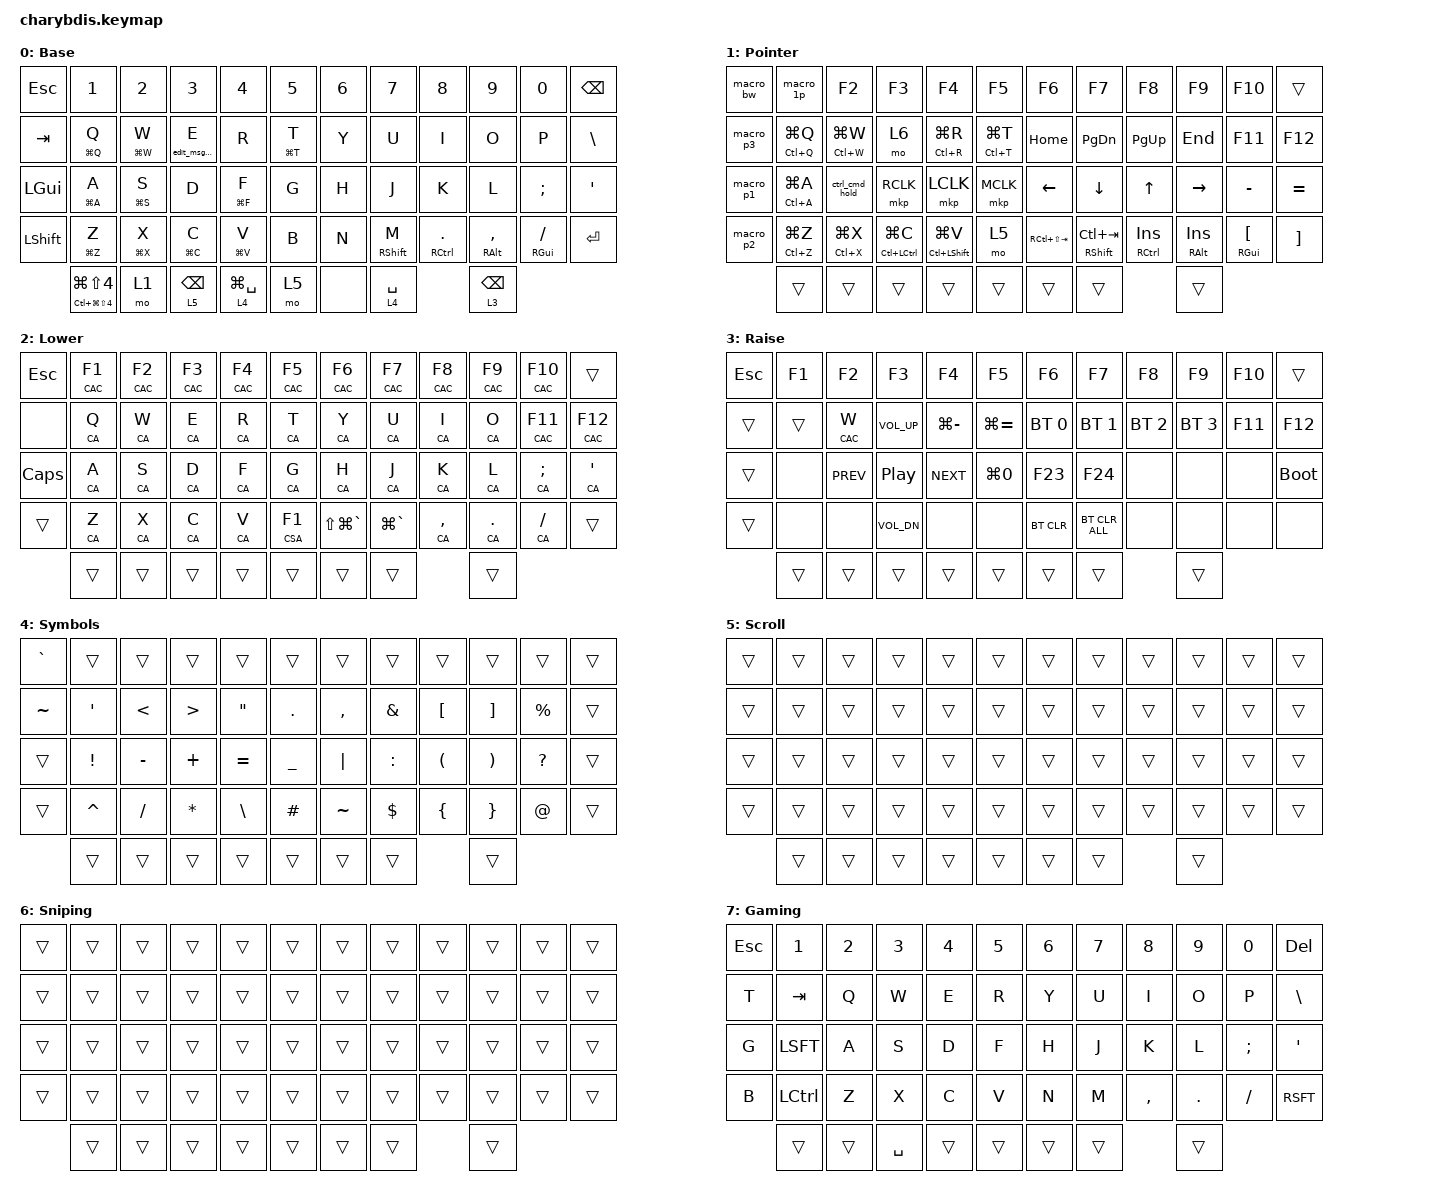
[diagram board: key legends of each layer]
#include <dt-bindings/zmk/mouse.h>
#include <behaviors/mouse_keys.dtsi>
#include <behaviors.dtsi>
#include <dt-bindings/zmk/bt.h>
#include <dt-bindings/zmk/keys.h>
#include <dt-bindings/zmk/pointing.h>

/ {
    chosen { zmk,physical-layout = &charybdis_6col_layout; };
};

&mt {
    quick-tap-ms = <200>;
    flavor = "tap-preferred";
    tapping-term-ms = <170>;
};

&lt {
    quick-tap-ms = <200>;
    flavor = "tap-preferred";
    tapping-term-ms = <170>;
};

// Layer definitions

#define BASE 0
#define POINTER 1
#define LOWER 2
#define RAISE 3
#define SYMBOLS 4
#define SCROLL 5
#define SNIPING 6
#define GAMING 7

/ {
    behaviors {
        // Hold-tap behavior for layer with tap-preferred

        blt: blt {
            compatible = "zmk,behavior-hold-tap";
            #binding-cells = <2>;
            flavor = "tap-preferred";
            tapping-term-ms = <200>;
            quick-tap-ms = <300>;
            require-prior-idle-ms = <100>;
            bindings = <&mo>, <&kp>;
        };

        // Tap-dance for GUI/Ctrl+B

        gui_ctrlb: gui_ctrlb {
            compatible = "zmk,behavior-tap-dance";
            #binding-cells = <0>;
            tapping-term-ms = <200>;
            bindings = <&kp LGUI>, <&kp LC(B)>;
        };

        // Tap/hold Alt, double-tap Ctrl+Shift+Z

        lalt_dt: lalt_dt {
            compatible = "zmk,behavior-tap-dance";
            #binding-cells = <0>;
            tapping-term-ms = <200>;
            bindings = <&kp LALT>, <&kp LC(LS(Z))>;
        };

        // Home row mods - Left hand

        hml: home_row_mod_left {
            compatible = "zmk,behavior-hold-tap";
            #binding-cells = <2>;
            flavor = "balanced";
            require-prior-idle-ms = <150>;
            tapping-term-ms = <280>;
            quick-tap-ms = <175>;
            bindings = <&kp>, <&kp>;

            hold-trigger-key-positions = <6 7 8 9 10 11 18 19 20 21 22 23 30 31 32 33 34 35 42 43 44 45 46 47 53 54 55>; // Right side keys
            hold-trigger-on-release;
        };

        // Home row mods - Right hand

        hmr: home_row_mod_right {
            compatible = "zmk,behavior-hold-tap";
            #binding-cells = <2>;
            flavor = "balanced";
            require-prior-idle-ms = <150>;
            tapping-term-ms = <280>;
            quick-tap-ms = <175>;
            bindings = <&kp>, <&kp>;

            hold-trigger-key-positions = <0 1 2 3 4 5 12 13 14 15 16 17 24 25 26 27 28 29 36 37 38 39 40 41 48 49 50 51 52>; // Left side keys
            hold-trigger-on-release;
        };

        // Hold-tap: pass hold-keycode and tap-keycode as params at use site

        caps_ss: caps_ss {
            compatible = "zmk,behavior-hold-tap";
            #binding-cells = <2>;
            flavor = "tap-preferred";
            tapping-term-ms = <200>;
            quick-tap-ms = <300>;
            require-prior-idle-ms = <100>;
            bindings = <&kp>, <&kp>;
        };

        // Hold-tap: hold slot takes an unused placeholder param, tap slot takes the real keycode

        e_edit: e_edit {
            compatible = "zmk,behavior-hold-tap";
            #binding-cells = <2>;
            flavor = "tap-preferred";
            tapping-term-ms = <200>;
            quick-tap-ms = <300>;
            require-prior-idle-ms = <100>;
            bindings = <&edit_msg_hold>, <&kp>;
        };
    };

    macros {
        // Ctrl+Alt+Cmd macro

        CAC: CAC {
            compatible = "zmk,behavior-macro-one-param";
            #binding-cells = <1>;
            bindings =
                <&macro_press>,
                <&kp LCTRL &kp LALT &kp LGUI &macro_param_1to1>,
                <&macro_tap>,
                <&kp MACRO_PLACEHOLDER>,
                <&macro_release>,
                <&kp LCTRL &kp LALT &kp LGUI>;
        };

        // Ctrl+Shift+Alt macro

        CSA: CSA {
            compatible = "zmk,behavior-macro-one-param";
            #binding-cells = <1>;
            bindings =
                <&macro_press>,
                <&kp LCTRL &kp LSHIFT &kp LALT &macro_param_1to1>,
                <&macro_tap>,
                <&kp MACRO_PLACEHOLDER>,
                <&macro_release>,
                <&kp LCTRL &kp LSHIFT &kp LALT>;
        };

        // Ctrl+Alt macro

        CA: CA {
            compatible = "zmk,behavior-macro-one-param";
            #binding-cells = <1>;
            bindings =
                <&macro_press>,
                <&kp LCTRL &kp LALT &macro_param_1to1>,
                <&macro_tap>,
                <&kp MACRO_PLACEHOLDER>,
                <&macro_release>,
                <&kp LCTRL &kp LALT>;
        };

        // Hold Ctrl+Cmd+Left Click while key is pressed (for mouse drag window actions)

        ctrl_cmd_hold: ctrl_cmd_hold {
            compatible = "zmk,behavior-macro";
            wait-ms = <0>;
            tap-ms = <10>;
            #binding-cells = <0>;
            bindings =
                <&macro_press>,
                <&kp LCTRL &kp LGUI &mkp LCLK>,
                <&macro_pause_for_release>,
                <&macro_release>,
                <&mkp LCLK &kp LCTRL &kp LGUI>;
        };

        // Press Up, then press E (sequential) - edit last sent chat message
        // Accepts 1 param for hold-tap compatibility, but doesn't use it

        edit_msg_hold: edit_msg_hold {
            compatible = "zmk,behavior-macro-one-param";
            #binding-cells = <1>;
            bindings = <&macro_tap>, <&kp UP &kp E>;
        };

        macro_p1: macro_p1 {
            compatible = "zmk,behavior-macro";
            #binding-cells = <0>;
            bindings = <&none &kp LS(D) &kp O &kp L &kp L &kp A &kp R &kp DOT &kp A &kp I &kp R &kp P &kp O &kp R &kp T &kp S &kp DOT &kp T &kp R &kp I &kp P &kp P &kp DOT &kp B &kp O &kp T &kp T &kp O &kp M &kp N2>;
            label = "MACRO_P1";
        };

        macro_p2: macro_p2 {
            compatible = "zmk,behavior-macro";
            #binding-cells = <0>;
            bindings = <&none &kp LS(H) &kp LS(G) &kp E &kp E &kp LS(S) &kp H &kp I &kp C &kp K &kp S &kp N4 &kp N5>;
            label = "MACRO_P2";
        };

        macro_p3: macro_p3 {
            compatible = "zmk,behavior-macro";
            #binding-cells = <0>;
            bindings = <&none &kp LS(C) &kp H &kp A &kp R &kp D &kp M &kp O &kp N &kp S &kp T &kp E &kp R &kp N4 &kp N5>;
            label = "MACRO_P3";
        };

        macro_1p: macro_1p {
            compatible = "zmk,behavior-macro";
            #binding-cells = <0>;
            bindings = <&none &kp LS(T) &kp O &kp K &kp W &kp A &kp SQT &kp T &kp B &kp A &kp B &kp O &kp Y &kp N4>;
            label = "MACRO_1P";
        };

        macro_bw: macro_bw {
            compatible = "zmk,behavior-macro";
            #binding-cells = <0>;
            bindings = <&none &kp LS(M) &kp A &kp G &kp N &kp E &kp T &kp I &kp C &kp K &kp I &kp N &kp E &kp T &kp I &kp C &kp T &kp AT &kp Y &kp N1>;
            label = "MACRO_BW";
        };
    };

    combos {
        compatible = "zmk,combos";
        timeout-ms = <20>;
        require-prior-idle-ms = <250>;

        // Studio Unlock Combo - all three right thumb keys

        combo_studio_unlock {
            timeout-ms = <50>;
            key-positions = <53 54 55>;
            bindings = <&studio_unlock>;
        };

        // Gaming layer toggle combo - keys 49, 55, 54

        combo_gaming_toggle {
            timeout-ms = <50>;
            key-positions = <49 55 54>;
            bindings = <&tog 7>;
        };
    };

    keymap {
        compatible = "zmk,keymap";

        // ╭─────────────┬─────────────┬─────────────┬─────────────┬─────────────┬─────────────╮   ╭─────────────┬─────────────┬─────────────┬─────────────┬─────────────┬─────────────╮
        //    0             1             2             3             4             5                 6             7             8             9            10            11
        // ├─────────────┼─────────────┼─────────────┼─────────────┼─────────────┼─────────────┤   ├─────────────┼─────────────┼─────────────┼─────────────┼─────────────┼─────────────┤
        //   12            13            14            15            16            17                18            19            20            21            22            23
        // ├─────────────┼─────────────┼─────────────┼─────────────┼─────────────┼─────────────┤   ├─────────────┼─────────────┼─────────────┼─────────────┼─────────────┼─────────────┤
        //   24            25            26            27            28            29                30            31            32            33            34            35
        // ├─────────────┼─────────────┼─────────────┼─────────────┼─────────────┼─────────────┤   ├─────────────┼─────────────┼─────────────┼─────────────┼─────────────┼─────────────┤
        //   36            37            38            39            40            41                42            43            44            45            46            47
        // ╰─────────────┴─────────────┴─────────────┴─────────────┴─────────────┴─────────────╯   ╰─────────────┴─────────────┴─────────────┴─────────────┴─────────────┴─────────────╯
        //
        //               ╭─────────────┬─────────────┬─────────────┬─────────────┬─────────────╮   ╭─────────────┬─────────────┬─────────────╮
        //                  48            49            50            51            52                53            54            55
        //               ╰─────────────┴─────────────┴─────────────┴─────────────┴─────────────╯   ╰─────────────┴─────────────┴─────────────╯
        //                                                        VERIFIED Physical Key Positions (hand-tested)
        //               ╭─────────────┬─────────────┬─────────────┬─────────────┬─────────────╮   ╭─────────────┬─────────────┬─────────────╮
        //                CAPS/Screen-   hold:          BSPC/         Cmd+Space/    hold:              (inert)*      SPACE/        BSPC/
        //                shot (hold)    POINTER        hold: SCROLL  hold: SYMBOLS SCROLL              none*         hold:         hold: RAISE*
        //                                                                                                              SYMBOLS      [DEAD KEY]*
        //               ╰─────────────┴─────────────┴─────────────┴─────────────┴─────────────╯   ╰─────────────┴─────────────┴─────────────╯
        //
        //               * Right cluster positions 53 and 55 are UNVERIFIED - both keys are
        //                 physically non-responsive (hardware fault), so their exact
        //                 left-to-right physical order is inferred from binding behavior,
        //                 not confirmed by hands-on testing like the rest of this diagram.
        //                 Only position 54 (Space/Symbols) has been positively confirmed.

        base_layer {
            label = "BASE";
            display-name = "Base";
            bindings = <
&kp ESC         &kp N1                                          &kp N2        &kp N3        &kp N4            &kp N5        &kp N6         &kp N7         &kp N8             &kp N9           &kp N0          &kp BACKSPACE
&kp TAB         &hml LG(Q) Q                                    &hml LG(W) W  &e_edit 0 E   &kp R             &hml LG(T) T          &kp Y  &kp U          &kp I              &kp O            &kp P           &kp BSLH
&kp LEFT_GUI    &hml LG(A) A                                    &hml LG(S) S  &kp D         &hml LG(F) F      &kp G                 &kp H  &kp J          &kp K              &kp L            &kp SEMI        &kp SQT
&kp LEFT_SHIFT  &hml LG(Z) Z                                    &hml LG(X) X  &hml LG(C) C  &hml LG(V) V      &kp B                 &kp N  &hmr RSHIFT M  &hmr RCTRL PERIOD  &hmr RALT COMMA  &hmr RGUI FSLH  &kp RETURN
                &caps_ss LC(LG(LS(NUMBER_4))) LG(LS(NUMBER_4))  &mo 1         &blt 5 BSPC   &blt 4 LG(SPACE)  &mo 5         &none          &blt 4 SPACE                      &blt 3 BSPC
            >;
        };

        pointer_layer {
            label = "POINTER";
            display-name = "Pointer";
            bindings = <
&macro_bw  &macro_1p         &kp F2            &kp F3                &kp F4                 &kp F5            &kp F6                   &kp F7               &kp F8          &kp F9         &kp F10         &trans
&macro_p3  &hml LC(Q) LG(Q)  &hml LC(W) LG(W)  &mo 6                 &hml LC(R) LG(R)       &hml LC(T) LG(T)          &kp HOME         &kp PG_DN            &kp PG_UP       &kp END        &kp F11         &kp F12
&macro_p1  &hml LC(A) LG(A)  &ctrl_cmd_hold    &mkp RCLK             &mkp LCLK              &mkp MCLK                 &kp LEFT         &kp DOWN             &kp UP          &kp RIGHT      &kp MINUS       &kp EQUAL
&macro_p2  &hml LC(Z) LG(Z)  &hml LC(X) LG(X)  &hml LC(LCTRL) LG(C)  &hml LC(LSHIFT) LG(V)  &mo 5                     &kp RC(LS(TAB))  &hmr RSHIFT LC(TAB)  &hmr RCTRL INS  &hmr RALT INS  &hmr RGUI LBKT  &kp RBKT
           &trans            &trans            &trans                &trans                 &trans            &trans                   &trans                               &trans
            >;
        };

        lower_layer {
            label = "LOWER";
            display-name = "Lower";
            bindings = <
&kp ESC   &CAC F1  &CAC F2  &CAC F3  &CAC F4  &CAC F5  &CAC F6                     &CAC F7        &CAC F8    &CAC F9  &CAC F10  &trans
&none     &CA Q    &CA W    &CA E    &CA R    &CA T             &CA Y              &CA U          &CA I      &CA O    &CAC F11  &CAC F12
&kp CAPS  &CA A    &CA S    &CA D    &CA F    &CA G             &CA H              &CA J          &CA K      &CA L    &CA SEMI  &CA SQT
&trans    &CA Z    &CA X    &CA C    &CA V    &CSA F1           &kp LS(LG(GRAVE))  &kp LG(GRAVE)  &CA COMMA  &CA DOT  &CA FSLH  &trans
          &trans   &trans   &trans   &trans   &trans   &trans                      &trans                    &trans
            >;
        };

        raise_layer {
            label = "RAISE";
            display-name = "Raise";
            bindings = <
&kp ESC  &kp F1  &kp F2      &kp F3        &kp F4         &kp F5         &kp F6                &kp F7          &kp F8        &kp F9        &kp F10  &trans
&trans   &trans  &CAC W      &kp C_VOL_UP  &kp LG(MINUS)  &kp LG(EQUAL)          &bt BT_SEL 0  &bt BT_SEL 1    &bt BT_SEL 2  &bt BT_SEL 3  &kp F11  &kp F12
&trans   &none   &kp C_PREV  &kp C_PP      &kp C_NEXT     &kp LG(N0)             &kp F23       &kp F24         &none         &none         &none    &bootloader
&trans   &none   &none       &kp C_VOL_DN  &none          &none                  &bt BT_CLR    &bt BT_CLR_ALL  &none         &none         &none    &none
         &trans  &trans      &trans        &trans         &trans         &trans                &trans                        &trans
            >;
        };

        symbols_layer {
            label = "SYMBOLS";
            display-name = "Symbols";
            bindings = <
&kp GRAVE  &trans     &trans     &trans     &trans     &trans     &trans             &trans     &trans    &trans    &trans     &trans
&kp TILDE  &kp SQT    &kp LT     &kp GT     &kp DQT    &kp DOT            &kp COMMA  &kp AMPS   &kp LBKT  &kp RBKT  &kp PRCNT  &trans
&trans     &kp EXCL   &kp MINUS  &kp PLUS   &kp EQUAL  &kp UNDER          &kp PIPE   &kp COLON  &kp LPAR  &kp RPAR  &kp QMARK  &trans
&trans     &kp CARET  &kp FSLH   &kp ASTRK  &kp BSLH   &kp HASH           &kp TILDE  &kp DLLR   &kp LBRC  &kp RBRC  &kp AT     &trans
           &trans     &trans     &trans     &trans     &trans     &trans             &trans               &trans
            >;
        };

        scroll_layer {
            label = "SCROLL";
            display-name = "Scroll";
            bindings = <
&trans  &trans  &trans  &trans  &trans  &trans  &trans          &trans  &trans  &trans  &trans  &trans
&trans  &trans  &trans  &trans  &trans  &trans          &trans  &trans  &trans  &trans  &trans  &trans
&trans  &trans  &trans  &trans  &trans  &trans          &trans  &trans  &trans  &trans  &trans  &trans
&trans  &trans  &trans  &trans  &trans  &trans          &trans  &trans  &trans  &trans  &trans  &trans
        &trans  &trans  &trans  &trans  &trans  &trans          &trans          &trans
            >;
        };

        sniping_layer {
            label = "SNIPING";
            display-name = "Sniping";
            bindings = <
&trans  &trans  &trans  &trans  &trans  &trans  &trans          &trans  &trans  &trans  &trans  &trans
&trans  &trans  &trans  &trans  &trans  &trans          &trans  &trans  &trans  &trans  &trans  &trans
&trans  &trans  &trans  &trans  &trans  &trans          &trans  &trans  &trans  &trans  &trans  &trans
&trans  &trans  &trans  &trans  &trans  &trans          &trans  &trans  &trans  &trans  &trans  &trans
        &trans  &trans  &trans  &trans  &trans  &trans          &trans          &trans
            >;
        };

        gaming_layer {
            label = "GAMING";
            display-name = "Gaming";
            bindings = <
&kp ESC  &kp N1     &kp N2  &kp N3     &kp N4  &kp N5  &kp N6         &kp N7  &kp N8     &kp N9   &kp N0    &kp DEL
&kp T    &kp TAB    &kp Q   &kp W      &kp E   &kp R           &kp Y  &kp U   &kp I      &kp O    &kp P     &kp BSLH
&kp G    &kp LSFT   &kp A   &kp S      &kp D   &kp F           &kp H  &kp J   &kp K      &kp L    &kp SEMI  &kp SQT
&kp B    &kp LCTRL  &kp Z   &kp X      &kp C   &kp V           &kp N  &kp M   &kp COMMA  &kp DOT  &kp FSLH  &kp RSFT
         &trans     &trans  &kp SPACE  &trans  &trans  &trans         &trans             &trans
            >;
        };
    };
};
